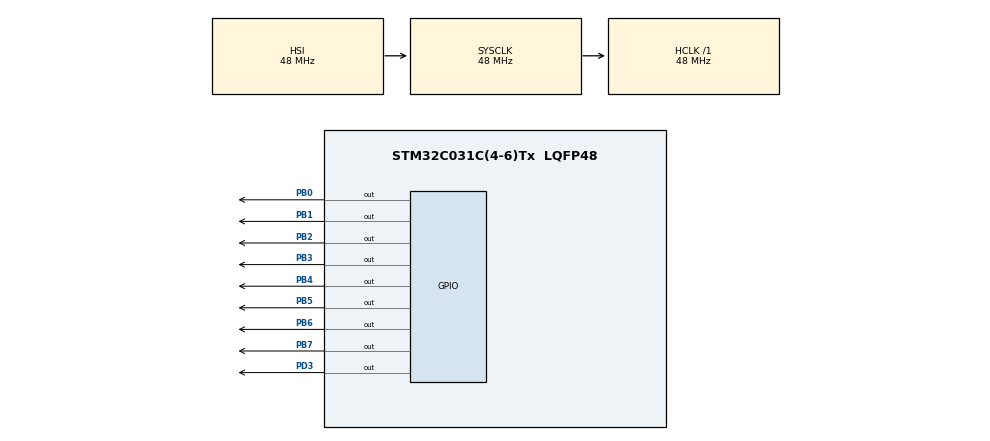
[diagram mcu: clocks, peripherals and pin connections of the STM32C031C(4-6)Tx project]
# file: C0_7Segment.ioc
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Mcu.Family=STM32C0
Mcu.Name=STM32C031C(4-6)Tx
Mcu.Package=LQFP48
PB0.Signal=GPIO_Output
PB1.Signal=GPIO_Output
PB2.Signal=GPIO_Output
PB3.Signal=GPIO_Output
PB4.Signal=GPIO_Output
PB5.Signal=GPIO_Output
PB6.Signal=GPIO_Output
PB7.Signal=GPIO_Output
PD3.Signal=GPIO_Output
ProjectManager.HeapSize=0x200
ProjectManager.StackSize=0x400
ProjectManager.TargetToolchain=STM32CubeIDE
RCC.ADCFreq_Value=48000000
RCC.AHBFreq_Value=48000000
RCC.CortexFreq_Value=48000000
RCC.EXTERNAL_CLOCK_VALUE=12288000
RCC.HCLKFreq_Value=48000000
RCC.HSE_VALUE=48000000
RCC.HSISYSCLKDivider=RCC_HSI_DIV1
RCC.HSI_VALUE=48000000
RCC.SYSCLKFreq_VALUE=48000000
board=NUCLEO-C031C6

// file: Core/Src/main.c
/* USER CODE BEGIN Header */
/**
  ******************************************************************************
  * @file           : main.c
  * @brief          : Main program body
  ******************************************************************************
  * @attention
  *
  * Copyright (c) 2026 STMicroelectronics.
  * All rights reserved.
  *
  * This software is licensed under terms that can be found in the LICENSE file
  * in the root directory of this software component.
  * If no LICENSE file comes with this software, it is provided AS-IS.
  *
  ******************************************************************************
  */
/* USER CODE END Header */
#include "main.h"

/* USER CODE BEGIN PD */
// LEDS TO BE SET "DO"
#define D0S GPIO_PIN_6|GPIO_PIN_7
#define D0R GPIO_PIN_0|GPIO_PIN_1|GPIO_PIN_2|GPIO_PIN_3|GPIO_PIN_4|GPIO_PIN_5

#define D1S GPIO_PIN_0|GPIO_PIN_3|GPIO_PIN_4|GPIO_PIN_5|GPIO_PIN_6|GPIO_PIN_7
#define D1R GPIO_PIN_1|GPIO_PIN_2

#define D2S GPIO_PIN_2|GPIO_PIN_5|GPIO_PIN_7
#define D2R GPIO_PIN_0|GPIO_PIN_1|GPIO_PIN_3|GPIO_PIN_4|GPIO_PIN_6

#define D3S GPIO_PIN_4|GPIO_PIN_5|GPIO_PIN_7
#define D3R GPIO_PIN_0|GPIO_PIN_1|GPIO_PIN_2|GPIO_PIN_3|GPIO_PIN_6

#define D4S GPIO_PIN_0|GPIO_PIN_3|GPIO_PIN_4|GPIO_PIN_7
#define D4R GPIO_PIN_1|GPIO_PIN_2|GPIO_PIN_5|GPIO_PIN_6

#define D5S GPIO_PIN_1|GPIO_PIN_4|GPIO_PIN_7
#define D5R GPIO_PIN_0|GPIO_PIN_2|GPIO_PIN_3|GPIO_PIN_5|GPIO_PIN_6

#define D6S GPIO_PIN_1|GPIO_PIN_7
#define D6R GPIO_PIN_0|GPIO_PIN_2|GPIO_PIN_3|GPIO_PIN_4|GPIO_PIN_5|GPIO_PIN_6

#define D7S GPIO_PIN_3|GPIO_PIN_4|GPIO_PIN_5|GPIO_PIN_6|GPIO_PIN_7
#define D7R GPIO_PIN_0|GPIO_PIN_1|GPIO_PIN_2

#define D8S GPIO_PIN_7
#define D8R GPIO_PIN_0|GPIO_PIN_1|GPIO_PIN_2|GPIO_PIN_3|GPIO_PIN_4|GPIO_PIN_5|GPIO_PIN_6

#define D9S GPIO_PIN_4|GPIO_PIN_7
#define D9R GPIO_PIN_0|GPIO_PIN_1|GPIO_PIN_2|GPIO_PIN_3|GPIO_PIN_5|GPIO_PIN_6
/* USER CODE END PD */

void SystemClock_Config(void);
static void MX_GPIO_Init(void);

int main(void)
{

  /* MCU Configuration--------------------------------------------------------*/

  /* Reset of all peripherals, Initializes the Flash interface and the Systick. */
  HAL_Init();

  /* Configure the system clock */
  SystemClock_Config();

  /* Initialize all configured peripherals */
  MX_GPIO_Init();

  /* Infinite loop */
  while (1)
  {

    /* USER CODE BEGIN 3 */
	  HAL_GPIO_WritePin(GPIOB, D0S, GPIO_PIN_SET );
	  HAL_GPIO_WritePin(GPIOB, D0R, GPIO_PIN_RESET );
	  HAL_Delay(1000);
	  HAL_GPIO_WritePin(GPIOB, D1S, GPIO_PIN_SET );
	  HAL_GPIO_WritePin(GPIOB, D1R, GPIO_PIN_RESET );
	  HAL_Delay(1000);
	  HAL_GPIO_WritePin(GPIOB, D2S, GPIO_PIN_SET );
	  HAL_GPIO_WritePin(GPIOB, D2R, GPIO_PIN_RESET );
	  HAL_Delay(1000);
	  HAL_GPIO_WritePin(GPIOB, D3S, GPIO_PIN_SET );
	  HAL_GPIO_WritePin(GPIOB, D3R, GPIO_PIN_RESET );
	  HAL_Delay(1000);
	  HAL_GPIO_WritePin(GPIOB, D4S, GPIO_PIN_SET );
	  HAL_GPIO_WritePin(GPIOB, D4R, GPIO_PIN_RESET );
	  HAL_Delay(1000);
	  HAL_GPIO_WritePin(GPIOB, D5S, GPIO_PIN_SET );
	  HAL_GPIO_WritePin(GPIOB, D5R, GPIO_PIN_RESET );
	  HAL_Delay(1000);
	  HAL_GPIO_WritePin(GPIOB, D6S, GPIO_PIN_SET );
	  HAL_GPIO_WritePin(GPIOB, D6R, GPIO_PIN_RESET );
	  HAL_Delay(1000);
	  HAL_GPIO_WritePin(GPIOB, D7S, GPIO_PIN_SET );
	  HAL_GPIO_WritePin(GPIOB, D7R, GPIO_PIN_RESET );
	  HAL_Delay(1000);
	  HAL_GPIO_WritePin(GPIOB, D8S, GPIO_PIN_SET );
	  HAL_GPIO_WritePin(GPIOB, D8R, GPIO_PIN_RESET );
	  HAL_Delay(1000);
	  HAL_GPIO_WritePin(GPIOB, D9S, GPIO_PIN_SET );
	  HAL_GPIO_WritePin(GPIOB, D9R, GPIO_PIN_RESET );
	  HAL_Delay(1000);

  }
  /* USER CODE END 3 */
}

void SystemClock_Config(void)
{
  RCC_OscInitTypeDef RCC_OscInitStruct = {0};
  RCC_ClkInitTypeDef RCC_ClkInitStruct = {0};

  __HAL_FLASH_SET_LATENCY(FLASH_LATENCY_1);

  /** Initializes the RCC Oscillators according to the specified parameters
  * in the RCC_OscInitTypeDef structure.
  */
  RCC_OscInitStruct.OscillatorType = RCC_OSCILLATORTYPE_HSI;
  RCC_OscInitStruct.HSIState = RCC_HSI_ON;
  RCC_OscInitStruct.HSIDiv = RCC_HSI_DIV1;
  RCC_OscInitStruct.HSICalibrationValue = RCC_HSICALIBRATION_DEFAULT;
  if (HAL_RCC_OscConfig(&RCC_OscInitStruct) != HAL_OK)
  {
    Error_Handler();
  }

  /** Initializes the CPU, AHB and APB buses clocks
  */
  RCC_ClkInitStruct.ClockType = RCC_CLOCKTYPE_HCLK|RCC_CLOCKTYPE_SYSCLK
                              |RCC_CLOCKTYPE_PCLK1;
  RCC_ClkInitStruct.SYSCLKSource = RCC_SYSCLKSOURCE_HSI;
  RCC_ClkInitStruct.SYSCLKDivider = RCC_SYSCLK_DIV1;
  RCC_ClkInitStruct.AHBCLKDivider = RCC_HCLK_DIV1;
  RCC_ClkInitStruct.APB1CLKDivider = RCC_APB1_DIV1;

  if (HAL_RCC_ClockConfig(&RCC_ClkInitStruct, FLASH_LATENCY_1) != HAL_OK)
  {
    Error_Handler();
  }
}

static void MX_GPIO_Init(void)
{
  GPIO_InitTypeDef GPIO_InitStruct = {0};

  /* GPIO Ports Clock Enable */
  __HAL_RCC_GPIOB_CLK_ENABLE();
  __HAL_RCC_GPIOD_CLK_ENABLE();

  /*Configure GPIO pin Output Level */
  HAL_GPIO_WritePin(GPIOB, GPIO_PIN_0|GPIO_PIN_1|GPIO_PIN_2|GPIO_PIN_3
                          |GPIO_PIN_4|GPIO_PIN_5|GPIO_PIN_6|GPIO_PIN_7, GPIO_PIN_RESET);

  /*Configure GPIO pin Output Level */
  HAL_GPIO_WritePin(GPIOD, GPIO_PIN_3, GPIO_PIN_RESET);

  /*Configure GPIO pins : PB0 PB1 PB2 PB3
                           PB4 PB5 PB6 PB7 */
  GPIO_InitStruct.Pin = GPIO_PIN_0|GPIO_PIN_1|GPIO_PIN_2|GPIO_PIN_3
                          |GPIO_PIN_4|GPIO_PIN_5|GPIO_PIN_6|GPIO_PIN_7;
  GPIO_InitStruct.Mode = GPIO_MODE_OUTPUT_PP;
  GPIO_InitStruct.Pull = GPIO_NOPULL;
  GPIO_InitStruct.Speed = GPIO_SPEED_FREQ_LOW;
  HAL_GPIO_Init(GPIOB, &GPIO_InitStruct);

  /*Configure GPIO pin : PD3 */
  GPIO_InitStruct.Pin = GPIO_PIN_3;
  GPIO_InitStruct.Mode = GPIO_MODE_OUTPUT_PP;
  GPIO_InitStruct.Pull = GPIO_NOPULL;
  GPIO_InitStruct.Speed = GPIO_SPEED_FREQ_LOW;
  HAL_GPIO_Init(GPIOD, &GPIO_InitStruct);

}

void Error_Handler(void)
{
  __disable_irq();
  while (1)
  {
  }
}
